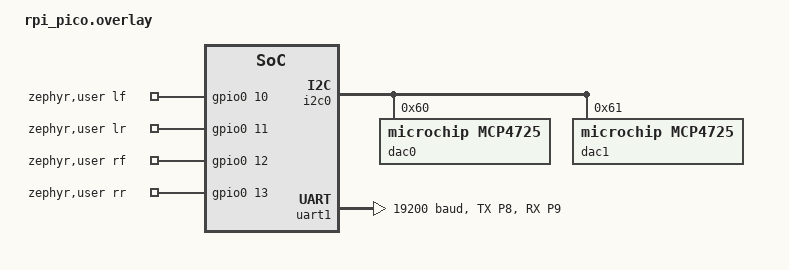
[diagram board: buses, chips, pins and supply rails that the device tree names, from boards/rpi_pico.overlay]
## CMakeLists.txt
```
cmake_minimum_required(VERSION 3.20.0)

set(BOARD rpi_pico)

find_package(Zephyr REQUIRED HINTS $ENV{ZEPHYR_BASE})
project(app LANGUAGES C)

# include(${ZEPHYR_BASE}/samples/subsys/usb/common/common.cmake)

# target_sources(app PRIVATE src/main.c)

FILE(GLOB app_sources src/*.c)
target_sources(app PRIVATE ${app_sources})

# add_subdirectory(src)
# include_directories(include)
```

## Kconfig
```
# Copyright (c) 2019 Nordic Semiconductor ASA
# SPDX-License-Identifier: Apache-2.0

# Use the SPI driver by default, unless the GPIO driver is
# specifically configured in.
config SPI
	default y

menu "WS2812 Sample Configuration"

config SAMPLE_LED_UPDATE_DELAY
	int "Delay between LED updates in ms"
	default 50
	help
	  Delay between LED updates in ms.

config CRSF
	bool "CRSF"
	default y
	help
	  Enable CRSF protocol support.

endmenu

source "Kconfig.zephyr"
```

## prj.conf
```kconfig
CONFIG_LOG=y
CONFIG_LOG_MODE_IMMEDIATE=y
CONFIG_LOG_DEFAULT_LEVEL=3
# CONFIG_KERNEL_LOG_LEVEL=1

CONFIG_LED_STRIP=y
CONFIG_LED_STRIP_LOG_LEVEL_DBG=y
CONFIG_WS2812_STRIP=y

CONFIG_DAC=y

CONFIG_CRSF=y

# CONFIG_USB_DEVICE_STACK=y
# CONFIG_USB_DEVICE_PRODUCT="Zephyr USB console sample"
# CONFIG_USB_DEVICE_PID=0x0004
# CONFIG_USB_DEVICE_INITIALIZE_AT_BOOT=n

# CONFIG_SERIAL=y
# CONFIG_CONSOLE=y
# CONFIG_UART_CONSOLE=y
# CONFIG_UART_LINE_CTRL=y
```

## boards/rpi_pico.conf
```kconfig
CONFIG_WS2812_STRIP_RPI_PICO_PIO=y
CONFIG_GPIO=y
CONFIG_GPIO_HOGS=y
CONFIG_SERIAL=y
CONFIG_RING_BUFFER=y
CONFIG_UART_INTERRUPT_DRIVEN=y
```

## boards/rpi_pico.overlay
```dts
#include <zephyr/dt-bindings/gpio/gpio.h>
#include <zephyr/dt-bindings/led/led.h>

// #include <rpi_pico/rp2040.dtsi>
// #include "adafruit_kb2040-pinctrl.dtsi"
// #include "sparkfun_pro_micro_connector.dtsi"
// #include <freq.h>
// #include <zephyr/dt-bindings/led/led.h>

/ {
	chosen {
	// 	zephyr,console = &cdc_acm_uart0;
	// 	// zephyr,shell-uart = &cdc_acm_uart0;
		
		crsf = &uart1;
	};
	zephyr,user {
		dac0 = <&dac0>;
		dac0-channel-id = <0>;
		dac0-resolution = <12>;

		dac1 = <&dac1>;
		dac1-channel-id = <0>;
		dac1-resolution = <12>;

		lf-gpios = <&gpio0 10 GPIO_ACTIVE_HIGH>; // Left Forward
		lr-gpios = <&gpio0 11 GPIO_ACTIVE_HIGH>; // Left Reverse
		rf-gpios = <&gpio0 12 GPIO_ACTIVE_HIGH>; // Right Forward
		rr-gpios = <&gpio0 13 GPIO_ACTIVE_HIGH>; // Right Reverse

	};
	aliases {
		// watchdog0 = &wdt0;
		led-strip = &ws2812;
		// crsf = &uart1;
	};
	// leds {
	// 	compatible = "gpio-leds";
	// 	led_dir_0: led_dir_0 {
	// 		gpios = <&gpio0 10 GPIO_ACTIVE_HIGH>;
	// 		default-state = "off";
	// 	};
	// };
	// outputs {
	// 	directions: node {		
	// 		foo-gpios = <&gpio0 10 GPIO_ACTIVE_HIGH>, // Left Front Forward
	// 					<&gpio0 11 GPIO_ACTIVE_HIGH>, // Left Front Reverse
	// 					<&gpio0 12 GPIO_ACTIVE_HIGH>, // Right Front Forward
	// 					<&gpio0 13 GPIO_ACTIVE_HIGH>; // Right Front Reverse
	// 	};
	// };

	// n: node {
	// 	foo-gpios = <&gpio0 1 GPIO_ACTIVE_LOW>,
	// 				<&gpio0 2 GPIO_ACTIVE_LOW>;
	// };
	
};



&gpio0 {
	status = "okay";
};

// &zephyr_udc0 {
// 	cdc_acm_uart0: cdc_acm_uart0 {
// 		compatible = "zephyr,cdc-acm-uart";
// 	};
// };

&pio0 {
	status = "okay";

	pio-ws2812 {
		compatible = "worldsemi,ws2812-rpi_pico-pio";
		status = "okay";
		pinctrl-0 = <&ws2812_pio0_default>;
		pinctrl-names = "default";
		bit-waveform = <3>, <3>, <4>;

		ws2812: ws2812 {
			status = "okay";
			output-pin = <16>;
			chain-length = <1>;
			color-mapping = <LED_COLOR_ID_GREEN
					 LED_COLOR_ID_RED
					 LED_COLOR_ID_BLUE>;
			reset-delay = <280>;
			frequency = <800000>;
		};
	};
};

&i2c0 {
	status = "okay";
	// clock-frequency = <1000>;
	dac0: mcp4725@60 {
		/* 1st MCP4725 */
		compatible = "microchip,mcp4725";
		reg = <0x60>;
		#io-channel-cells = <1>;
		status = "okay";
	};	
	dac1: mcp4725@61 {
		/* 1st MCP4725 */
		compatible = "microchip,mcp4725";
		reg = <0x61>;
		#io-channel-cells = <1>;
		status = "okay";
	};	
};


&uart1 {
	status = "okay";
	pinctrl-0 = <&uart1_default>;
	pinctrl-names = "default";
	// current-speed = <420000>;
	current-speed = <19200>;
};


&pinctrl {
	ws2812_pio0_default: ws2812_pio0_default {
		ws2812 {
			pinmux = <PIO0_P16>;
		};
	};

	uart1_default: uart1_default {
		group1 {
			pinmux = <UART1_TX_P8>;
		};
		group2 {
			pinmux = <UART1_RX_P9>;
			input-enable;
		};
	};
};

// / {
// 	ws2812_pio0_default: ws2812_pio0_default {
// 		ws2812 {
// 			pinmux = <PIO0_P17>;
// 		};
// 	};	

// 	aliases {
// 		watchdog0 = &wdt0;
// 		led-strip = &ws2812;
// 	};
// };

// &pio0 {
// 	status = "okay";

// 	pio-ws2812 {
// 		compatible = "worldsemi,ws2812-rpi_pico-pio";
// 		status = "okay";
// 		pinctrl-0 = <&ws2812_pio0_default>;
// 		pinctrl-names = "default";
// 		bit-waveform = <3>, <3>, <4>;

// 		ws2812: ws2812 {
// 			status = "okay";
// 			output-pin = <17>;
// 			chain-length = <1>;
// 			color-mapping = <LED_COLOR_ID_GREEN
// 					 LED_COLOR_ID_RED
// 					 LED_COLOR_ID_BLUE>;
// 			reset-delay = <280>;
// 			frequency = <800000>;
// 		};
// 	};
// };
```

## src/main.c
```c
/*
 * Copyright (c) 2017 Linaro Limited
 * Copyright (c) 2018 Intel Corporation
 *
 * SPDX-License-Identifier: Apache-2.0
 */

// #include <sample_usbd.h>

#include <errno.h>
#include <string.h>

#include <zephyr/logging/log.h>
LOG_MODULE_REGISTER(main, CONFIG_LOG_DEFAULT_LEVEL);

#include <zephyr/kernel.h>
#include <zephyr/drivers/led_strip.h>
#include <zephyr/device.h>
#include <zephyr/drivers/spi.h>
#include <zephyr/drivers/uart.h>
#include <zephyr/drivers/gpio.h>
#include <zephyr/sys/ring_buffer.h>
#include <zephyr/sys/util.h>
#include <zephyr/sys/printk.h>
#include <zephyr/drivers/dac.h>


// CRSF protocol
#define CENTER_X 991	// Чомусь мені здається, шо треба 992
#define CENTER_Y 991	// Чомусь мені здається, шо треба 992

#define MAX_X 820		// -820...820
#define MAX_Y 820		// -820...820
// Підвищення роздільної здатності задля кращої точності
#define MULTIPLIER 1

#define ZEPHYR_USER_NODE DT_PATH(zephyr_user)

const struct gpio_dt_spec lf_gpio = GPIO_DT_SPEC_GET(ZEPHYR_USER_NODE, lf_gpios);	// Left forward
const struct gpio_dt_spec lr_gpio = GPIO_DT_SPEC_GET(ZEPHYR_USER_NODE, lr_gpios);	// Left reverse
const struct gpio_dt_spec rf_gpio = GPIO_DT_SPEC_GET(ZEPHYR_USER_NODE, rf_gpios);	// Right forward
const struct gpio_dt_spec rr_gpio = GPIO_DT_SPEC_GET(ZEPHYR_USER_NODE, rr_gpios);	// Right reverse

#define DAC0_NODE DT_PHANDLE(ZEPHYR_USER_NODE, dac0)
#define DAC0_CHANNEL_ID DT_PROP(ZEPHYR_USER_NODE, dac0_channel_id)
#define DAC0_RESOLUTION DT_PROP(ZEPHYR_USER_NODE, dac0_resolution)

#define DAC1_NODE DT_PHANDLE(ZEPHYR_USER_NODE, dac1)
#define DAC1_CHANNEL_ID DT_PROP(ZEPHYR_USER_NODE, dac1_channel_id)
#define DAC1_RESOLUTION DT_PROP(ZEPHYR_USER_NODE, dac1_resolution)

static const struct device *const dac0_dev = DEVICE_DT_GET(DAC0_NODE);
static const struct device *const dac1_dev = DEVICE_DT_GET(DAC1_NODE);

static const struct dac_channel_cfg dac0_ch_cfg = {
	.channel_id  = DAC0_CHANNEL_ID,
	.resolution  = DAC0_RESOLUTION,
	.buffered = true
};

static const struct dac_channel_cfg dac1_ch_cfg = {
	.channel_id  = DAC1_CHANNEL_ID,
	.resolution  = DAC1_RESOLUTION,
	.buffered = true
};


// Адресний світлодіод (в подальшому можливо стрічка)
#define STRIP_NODE		DT_ALIAS(led_strip)
#define STRIP_NUM_PIXELS	DT_PROP(DT_ALIAS(led_strip), chain_length)

#define DELAY_TIME K_MSEC(CONFIG_SAMPLE_LED_UPDATE_DELAY)

#define RGB(_r, _g, _b) { .r = (_r), .g = (_g), .b = (_b) }

static const struct led_rgb colors[] = {
	RGB(0x0f, 0x00, 0x00), /* red */
	RGB(0x00, 0x0f, 0x00), /* green */
	RGB(0x00, 0x00, 0x0f), /* blue */
};

struct led_rgb pixels[STRIP_NUM_PIXELS];

static const struct device *const strip = DEVICE_DT_GET(STRIP_NODE);

#if !defined(CONFIG_CRSF)
#define CONFIG_CRSF	1
#endif

#if defined(CONFIG_CRSF)
#define DEV_CRFS   DEVICE_DT_GET(DT_CHOSEN(crsf))
static const struct device *const crsf_dev = DEV_CRFS;

// CRSF protocol state machine
enum crsf_state {
	CRSF_STATE_WAIT_SYNC,
	CRSF_STATE_WAIT_LENGTH,
	CRSF_STATE_PAYLOAD,
	// CRFS_STATE_END
};

enum crsf_state crsf_state = CRSF_STATE_WAIT_SYNC;

volatile int channel[16] = {0};
volatile bool crsf_frame_ready = false;

typedef struct __attribute__((packed)) crsf_frame {
	uint8_t type;
	unsigned ch0: 11;
	unsigned ch1: 11;
	unsigned ch2: 11;
	unsigned ch3: 11;
	unsigned ch4: 11;
	unsigned ch5: 11;
	unsigned ch6: 11;
	unsigned ch7: 11;
	unsigned ch8: 11;
	unsigned ch9: 11;
	unsigned ch10: 11;
	unsigned ch11: 11;
	unsigned ch12: 11;
	unsigned ch13: 11;
	unsigned ch14: 11;
	unsigned ch15: 11;
	uint8_t crc;
} crsf_frame_t;

uint8_t crsf_crc8(const uint8_t *ptr, uint8_t len){
	static const uint8_t crsf_crc8tab[256] = {
		0x00, 0xD5, 0x7F, 0xAA, 0xFE, 0x2B, 0x81, 0x54, 0x29, 0xFC, 0x56, 0x83, 0xD7, 0x02, 0xA8, 0x7D,
		0x52, 0x87, 0x2D, 0xF8, 0xAC, 0x79, 0xD3, 0x06, 0x7B, 0xAE, 0x04, 0xD1, 0x85, 0x50, 0xFA, 0x2F,
		0xA4, 0x71, 0xDB, 0x0E, 0x5A, 0x8F, 0x25, 0xF0, 0x8D, 0x58, 0xF2, 0x27, 0x73, 0xA6, 0x0C, 0xD9,
		0xF6, 0x23, 0x89, 0x5C, 0x08, 0xDD, 0x77, 0xA2, 0xDF, 0x0A, 0xA0, 0x75, 0x21, 0xF4, 0x5E, 0x8B,
		0x9D, 0x48, 0xE2, 0x37, 0x63, 0xB6, 0x1C, 0xC9, 0xB4, 0x61, 0xCB, 0x1E, 0x4A, 0x9F, 0x35, 0xE0,
		0xCF, 0x1A, 0xB0, 0x65, 0x31, 0xE4, 0x4E, 0x9B, 0xE6, 0x33, 0x99, 0x4C, 0x18, 0xCD, 0x67, 0xB2,
		0x39, 0xEC, 0x46, 0x93, 0xC7, 0x12, 0xB8, 0x6D, 0x10, 0xC5, 0x6F, 0xBA, 0xEE, 0x3B, 0x91, 0x44,
		0x6B, 0xBE, 0x14, 0xC1, 0x95, 0x40, 0xEA, 0x3F, 0x42, 0x97, 0x3D, 0xE8, 0xBC, 0x69, 0xC3, 0x16,
		0xEF, 0x3A, 0x90, 0x45, 0x11, 0xC4, 0x6E, 0xBB, 0xC6, 0x13, 0xB9, 0x6C, 0x38, 0xED, 0x47, 0x92,
		0xBD, 0x68, 0xC2, 0x17, 0x43, 0x96, 0x3C, 0xE9, 0x94, 0x41, 0xEB, 0x3E, 0x6A, 0xBF, 0x15, 0xC0,
		0x4B, 0x9E, 0x34, 0xE1, 0xB5, 0x60, 0xCA, 0x1F, 0x62, 0xB7, 0x1D, 0xC8, 0x9C, 0x49, 0xE3, 0x36,
		0x19, 0xCC, 0x66, 0xB3, 0xE7, 0x32, 0x98, 0x4D, 0x30, 0xE5, 0x4F, 0x9A, 0xCE, 0x1B, 0xB1, 0x64,
		0x72, 0xA7, 0x0D, 0xD8, 0x8C, 0x59, 0xF3, 0x26, 0x5B, 0x8E, 0x24, 0xF1, 0xA5, 0x70, 0xDA, 0x0F,
		0x20, 0xF5, 0x5F, 0x8A, 0xDE, 0x0B, 0xA1, 0x74, 0x09, 0xDC, 0x76, 0xA3, 0xF7, 0x22, 0x88, 0x5D,
		0xD6, 0x03, 0xA9, 0x7C, 0x28, 0xFD, 0x57, 0x82, 0xFF, 0x2A, 0x80, 0x55, 0x01, 0xD4, 0x7E, 0xAB,
		0x84, 0x51, 0xFB, 0x2E, 0x7A, 0xAF, 0x05, 0xD0, 0xAD, 0x78, 0xD2, 0x07, 0x53, 0x86, 0x2C, 0xF9};

	uint8_t crc = 0;
	for (uint8_t i = 0; i < len; i++) {
		crc = crsf_crc8tab[crc ^ *ptr++];
	}
	return crc;
}

void crsf_parse_payload(uint8_t *payload, uint8_t len) {

	if(len != 0x18) {
		// LOG_ERR("CRSF Frame Length: %d", len);
		return;
	}
	if (payload[0] != 0x16) {		// Type: RC Channels
		// LOG_ERR("CRSF Frame Type: 0x%02X", payload[0]);
		return;
	}

	crsf_frame_t *frame = (crsf_frame_t *)payload;

	channel[0] = frame->ch0;
	channel[1] = frame->ch1;
	channel[2] = frame->ch2;
	channel[3] = frame->ch3;
	channel[4] = frame->ch4;
	channel[5] = frame->ch5;
	channel[6] = frame->ch6;
	channel[7] = frame->ch7;
	channel[8] = frame->ch8;
	channel[9] = frame->ch9;
	channel[10] = frame->ch10;
	channel[11] = frame->ch11;
	channel[12] = frame->ch12;
	channel[13] = frame->ch13;
	channel[14] = frame->ch14;
	channel[15] = frame->ch15;

	crsf_frame_ready = true;

	// LOG_ERR("CH0:%5d CH1:%5d CH2:%5d CH3:%5d CH4:%5d CH5:%5d CH6: %5d CH7:%5d",
	// 	frame->ch0, frame->ch1, frame->ch2, frame->ch3, frame->ch4, frame->ch5, frame->ch6, frame->ch7
	// );
	// LOG_ERR("CRSF Frame Type: %d", frame->type);
	// LOG_ERR("CRSF Channel 0: %d", frame->ch0);
	// LOG_ERR("CRSF Channel 1: %d", frame->ch1);
	// LOG_ERR("CRSF Payload Length: %d", len);
	// uint8_t checksum = payload[len-1];
	// uint8_t crc = crsf_crc8(payload, len-1);

	// LOG_ERR("CRSF CRC: 0x%02X, Got: 0x%02X", checksum, crc);
	// LOG_HEXDUMP_ERR(payload, len, "CRSF Payload");
}

/*
 * Read characters from CRSF UART until line end is detected. Afterwards push the
 * data to the message queue.
 */
void serial_cb(const struct device *dev, void *user_data)
{
	uint8_t c;
	// static char rx_buf[32];
	// static int rx_buf_pos;
	static int len;
	static unsigned int crsf_payload_pos;
	static uint8_t crsf_payload[32];

	if (!uart_irq_update(crsf_dev)) {
		// printk("1");
		return;
	}

	if (!uart_irq_rx_ready(crsf_dev)) {
		// printk("2");
		return;
	}

	/* read until FIFO empty */
	while (uart_fifo_read(crsf_dev, &c, 1) == 1) {
		// printk("3");
		// Wait for the start of a frame
		switch (crsf_state) {
		case CRSF_STATE_WAIT_SYNC:
			if (c == 0xC8) {
				crsf_state = CRSF_STATE_WAIT_LENGTH;
				// LOG_ERR("S");
				// printk("4");
			}
			break;
		case CRSF_STATE_WAIT_LENGTH:
			len = c;	// Expecting 0x18 only
			if(len > 32) {
				crsf_state = CRSF_STATE_WAIT_SYNC;
				// LOG_ERR("CRSF Frame Length: %d", len);
				break;
			}
			crsf_payload_pos = 0;
			crsf_state = CRSF_STATE_PAYLOAD;
			break;
		case CRSF_STATE_PAYLOAD:
			crsf_payload[crsf_payload_pos++] = c;
			if (crsf_payload_pos == len) {
				crsf_state = CRSF_STATE_WAIT_SYNC;
				crsf_parse_payload(crsf_payload, len);
			}
			break;
		}


		
	}

}
#endif

#if !defined(abs)
#define abs(x) ((x) < 0 ? -(x) : (x))
#endif

int io_init()
{
	int ret;
	// Шо за куйня? Нафіга тут таке?
	if(!gpio_is_ready_dt(&lf_gpio)) {
		LOG_ERR("Left forward GPIO device not found!");
		return -1;
	}
	ret = gpio_pin_configure_dt(&lf_gpio, GPIO_OUTPUT_INACTIVE);
	if (ret < 0) {
		LOG_ERR("Failed to configure left forward GPIO: %d", ret);
		return ret;
	}

	if(!gpio_is_ready_dt(&lr_gpio)) {
		LOG_ERR("Left reverse GPIO device not found!");
		return -1;
	}
	ret = gpio_pin_configure_dt(&lr_gpio, GPIO_OUTPUT_INACTIVE);
	if (ret < 0) {
		LOG_ERR("Failed to configure left reverse GPIO: %d", ret);
		return ret;
	}

	if(!gpio_is_ready_dt(&rf_gpio)) {
		LOG_ERR("Right forward GPIO device not found!");
		return -1;
	}
	ret = gpio_pin_configure_dt(&rf_gpio, GPIO_OUTPUT_INACTIVE);
	if (ret < 0) {
		LOG_ERR("Failed to configure right forward GPIO: %d", ret);
		return ret;
	}

	if(!gpio_is_ready_dt(&rr_gpio)) {
		LOG_ERR("Right reverse GPIO device not found!");
		return -1;
	}
	ret = gpio_pin_configure_dt(&rr_gpio, GPIO_OUTPUT_INACTIVE);
	if (ret < 0) {
		LOG_ERR("Failed to configure right reverse GPIO: %d", ret);
		return ret;
	}
	return 0;
}

int led_init()
{
	if(!device_is_ready(strip)) {
		LOG_ERR("LED strip device %s is not ready", strip->name);
		return -1;
	}
	return 0;
}

int crsf_init()
{
	int ret;
	#if defined(CONFIG_CRSF)
	if (!device_is_ready(crsf_dev)) {
		LOG_ERR("CRSF UART device not found!");
		return 0;
	} else {
		LOG_INF("CRSF UART device found!");
	}
	/* configure interrupt and callback to receive data */
	ret = uart_irq_callback_user_data_set(crsf_dev, serial_cb, NULL);
	if (ret < 0) {
		if (ret == -ENOTSUP) {
			LOG_ERR("Interrupt-driven UART API support not enabled");
		} else if (ret == -ENOSYS) {
			LOG_ERR("UART device does not support interrupt-driven API");
		} else {
			LOG_ERR("Error setting UART callback: %d", ret);
		}
		return 0;
	}
	uart_irq_rx_enable(crsf_dev);

	/* indefinitely wait for input from the user */
	// while (k_msgq_get(&uart_msgq, &tx_buf, K_FOREVER) == 0) {

	// for(;;) {
	// 	if(crsf_frame_ready) {
	// 		crsf_frame_ready = false;
	// 		LOG_INF(
	// 			"0:%5d 1:%5d 2:%5d 3:%5d 4:%5d 5:%5d 6: %5d 7:%5d "
	// 			"8:%5d 9:%5d 10:%5d 11:%5d 12:%5d 13:%5d 14:%5d 15:%5d",
	// 			channel[0], channel[1], channel[2], channel[3], channel[4], channel[5], channel[6], channel[7],
	// 			channel[8], channel[9], channel[10], channel[11], channel[12], channel[13], channel[14], channel[15]
	// 		);
		
	// 	}
	// 	k_sleep(K_MSEC(100));
	// }
	#endif
	return 0;
}

int dac_init()
{
	int ret;
	if (!device_is_ready(dac0_dev)) {
		printk("DAC0 device %s is not ready\n", dac0_dev->name);
		return 0;
	}
	ret = dac_channel_setup(dac0_dev, &dac0_ch_cfg);
	if (ret != 0) {
		printk("Setting up of DAC0 channel failed with code %d\n", ret);
		return 0;
	}

	if (!device_is_ready(dac1_dev)) {
		printk("DAC1 device %s is not ready\n", dac1_dev->name);
		return 0;
	}
	ret = dac_channel_setup(dac1_dev, &dac1_ch_cfg);
	if (ret != 0) {
		printk("Setting up of DAC1 channel failed with code %d\n", ret);
		return 0;
	}
	return 0;
}

int led_update()
{
	static size_t cursor = 0, color = 0;
	int rc;

	memset(&pixels, 0x00, sizeof(pixels));
	memcpy(&pixels[cursor], &colors[color], sizeof(struct led_rgb));
	rc = led_strip_update_rgb(strip, pixels, STRIP_NUM_PIXELS);

	if (rc) {
		LOG_ERR("couldn't update strip: %d", rc);
	}

	cursor++;
	if (cursor >= STRIP_NUM_PIXELS) {
		cursor = 0;
		color++;
		if (color == ARRAY_SIZE(colors)) {
			color = 0;
		}
	}
	return 0;
}

int dac_update(int left_wheel, int right_wheel)
{
	int ret;

	unsigned int dac0_value = abs(left_wheel) * 4094 / MAX_X / MULTIPLIER;

	if(dac0_value > 4094) {
		dac0_value = 4094;
	} else if(dac0_value < 0) {
		dac0_value = 0;
	}

	// Invert voltage
	dac0_value = 4094 - dac0_value;

	unsigned int dac1_value = abs(right_wheel) * 4094 / MAX_Y / MULTIPLIER;

	if(dac1_value > 4094) {
		dac1_value = 4094;
	} else if(dac1_value < 0) {
		dac1_value = 0;
	}

	// Invert voltage
	dac1_value = 4094 - dac1_value;

	// LOG_INF(
	// 	"L: %s:%d "
	// 	"R: %s:%d "
	// 	"DAC0: %d "
	// 	"DAC1: %d",
	// 	left_wheel_dir ? "^" : "v", left_wheel,
	// 	right_wheel_dir ? "^" : "v", right_wheel,
	// 	dac0_value,
	// 	dac1_value
	// );


	ret = dac_write_value(dac0_dev, DAC0_CHANNEL_ID, dac0_value);
	if (ret != 0) {
		LOG_ERR("dac0_write_value() failed with code %d\n", ret);
		return ret;
	}

	ret = dac_write_value(dac1_dev, DAC1_CHANNEL_ID, dac1_value);
	if (ret != 0) {
		printk("dac1_write_value() failed with code %d\n", ret);
		return ret;
	}

	return 0;
}

// Автопилот:
// 7й канал - вмикання (1792)/вимикання(191) автопілота 
// 6й канал - обмеження швидкості автопілота (192-повільно, 992-середньо, 1792-швидко)
// 10й канал - лівий двигун (191...1792)
// 11й канал - правий двигун (191...1792)


int crsf_update(int *left_wheel, int *right_wheel)
{
	// LOG_INF(
	// 	"0:%5d 1:%5d 2:%5d 3:%5d 4:%5d 5:%5d 6: %5d 7:%5d "
	// 	"8:%5d 9:%5d 10:%5d 11:%5d 12:%5d 13:%5d 14:%5d 15:%5d",
	// 	channel[0], channel[1], channel[2], channel[3], channel[4], channel[5], channel[6], channel[7],
	// 	channel[8], channel[9], channel[10], channel[11], channel[12], channel[13], channel[14], channel[15]
	// );

	if(channel[7] > 1000) {
		int speed = channel[6];
		int left_w = channel[10] - 191;
		int right_w = channel[11] - 191;
		// Швидкість
		int max_speed = 820;
		if(speed < 592) {
			max_speed = 820/3;
		} else if(speed < 1392) {
			max_speed = 820/2;
		}

		// Автопілот ввімкнено
		// Лівий двигун
		*left_wheel = left_w * max_speed / 1600;
		// Правий двигун
		*right_wheel = right_w * max_speed / 1600;
		return 0;
	}
	// 
	// int left_stick_x = channel[3];
	// int left_stick_y = channel[2];
	int right_stick_x = channel[0];
	int right_stick_y = channel[1];


	// Translate from 174...1811 to -820...820 (centered at 991)
	right_stick_x -= CENTER_X;
	right_stick_y -= CENTER_Y;

	#define DEADZONE 10
	bool in_deadzone = false;
	if((right_stick_x > -DEADZONE && right_stick_x < DEADZONE) && (right_stick_y > -DEADZONE && right_stick_y < DEADZONE)) {
		right_stick_x = 0;
		right_stick_y = 0;
		in_deadzone = true;
	}

	#if 0
	#define MULTIPLIER 16

	// Multiply by MULTIPLIER for better resolution
	right_stick_x *= MULTIPLIER;
	right_stick_y *= MULTIPLIER;

	// Rotate right_stick_x, right_stick_y 45 degrees counterclockwise
	int temp = right_stick_x;
	right_stick_x = (int)(0.70710678118 * right_stick_x - 0.70710678118 * right_stick_y);
	right_stick_y = (int)(0.70710678118 * right_stick_y + 0.70710678118 * temp);

	// int left_wheel = right_stick_y + right_stick_x;
	// int right_wheel = right_stick_y - right_stick_x;

	int left_wheel = abs(right_stick_y);
	int right_wheel = abs(right_stick_x);
	bool left_wheel_dir = right_stick_y > 0;
	bool right_wheel_dir = right_stick_x > 0;
	#endif

	// Проста поведінка - прцює тільки частина діапазону
	*left_wheel = right_stick_x + right_stick_y;
	*right_wheel = right_stick_y - right_stick_x;
	return 0;
}

static bool in_deadzone(int left_wheel, int right_wheel)
{
	return (left_wheel > -DEADZONE && left_wheel < DEADZONE) && (right_wheel > -DEADZONE && right_wheel < DEADZONE);
}

int set_dirs(int left_wheel, int right_wheel)
{
	bool left_wheel_dir = left_wheel > 0;
	bool right_wheel_dir = right_wheel > 0;

	if(in_deadzone(left_wheel, right_wheel)) {
		// Off all directions
		gpio_pin_set_dt(&lf_gpio, 0);
		gpio_pin_set_dt(&lr_gpio, 0);
		gpio_pin_set_dt(&rf_gpio, 0);
		gpio_pin_set_dt(&rr_gpio, 0);
	} else {
		if(left_wheel_dir) {
			gpio_pin_set_dt(&lr_gpio, 0);
			gpio_pin_set_dt(&lf_gpio, 1);
		} else {
			gpio_pin_set_dt(&lf_gpio, 0);
			gpio_pin_set_dt(&lr_gpio, 1);
		}
		if(right_wheel_dir) {
			gpio_pin_set_dt(&rr_gpio, 0);
			gpio_pin_set_dt(&rf_gpio, 1);
		} else {
			gpio_pin_set_dt(&rf_gpio, 0);
			gpio_pin_set_dt(&rr_gpio, 1);
		}
	}
	return 0;
}

int main(void)
{
	int left_wheel = 0;
	int right_wheel = 0;
	int new_left_wheel = 0;	// Updated values from CRSF or (0,0) if no new values
	int new_right_wheel = 0;

	if(io_init() < 0) return -1;
	if(led_init() < 0) return -1;
	if(crsf_init() < 0) return -1;
	if(dac_init() < 0) return -1;

	while (1) {
		led_update();

		if(crsf_frame_ready) {
			crsf_frame_ready = false;
			crsf_update(&new_left_wheel, &new_right_wheel);
		} else {
			// LOG_INF("CRSF Frame not ready");
			new_left_wheel = 0;
			new_right_wheel = 0;
		}

		// Low-pass filter
		left_wheel = (left_wheel + new_left_wheel) / 2;
		right_wheel = (right_wheel + new_right_wheel) / 2;

		// LOG_INF("L: %5d R: %5d ", left_wheel, right_wheel);

		set_dirs(left_wheel, right_wheel);

		dac_update(left_wheel, right_wheel);

		k_sleep(DELAY_TIME);
	}
	return 0;
}
```
